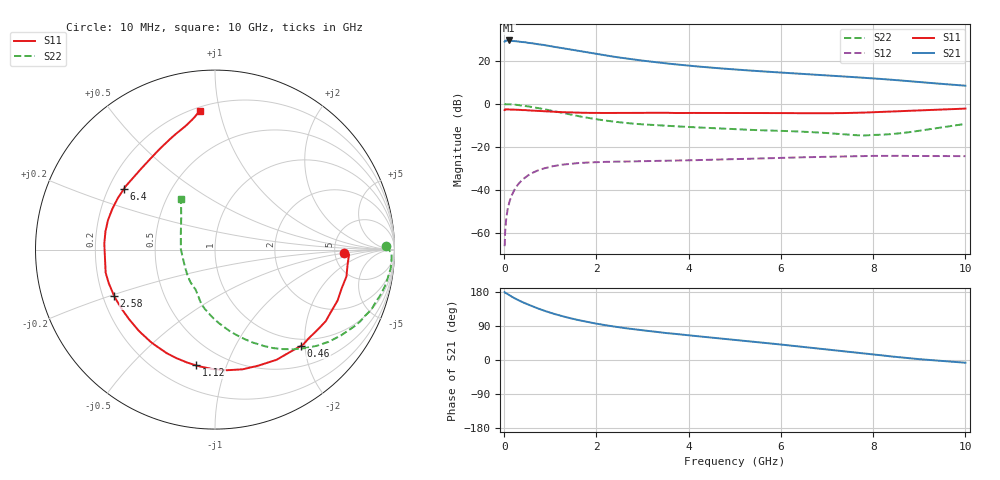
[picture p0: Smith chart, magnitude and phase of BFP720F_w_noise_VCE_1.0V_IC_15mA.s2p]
! Infineon Technologies  Discrete & RF Semiconductors
! BFP720F
! VCE =  1.0 V,  IC =  15 mA
! Common Emitter S-Parameters:  Jan 2016
# GHz  S  MA  R  50
!  f  S11  S21  S12  S22
! GHz  MAG  ANG  MAG  ANG  MAG  ANG  MAG  ANG
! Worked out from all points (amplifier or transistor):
!   233 points, 10 MHz to 10 GHz, reference 50 ohm
!   highest |S21| = 29.4 dB at 100 MHz (marker M1)
!   |S21| within 3 dB of that: start of sweep to 1.096 GHz
!   unconditionally stable (mu >= 1): start of sweep to 15.63 MHz; 6.02 GHz to end of sweep
!   at 200 MHz: K = 0.08, MSG = 35.0 dB, |S12| = -40.7 dB
!   at 1.74 GHz: K = 0.40, MSG = 25.7 dB, |S12| = -27.3 dB
!   at 10 GHz: K = 1.32, MAG = 12.9 dB, |S12| = -24.3 dB
!   lowest NFmin = 0.69 dB at 450 MHz
!   S11 on the Smith chart (normalised r, x): 10 MHz: 6.13, -0.45; 460 MHz: 0.87, -1.92; 1.12 GHz: 0.35, -0.79; 2.58 GHz: 0.25, -0.21; 6.4 GHz: 0.26, +0.29; 10 GHz: 0.22, +0.87
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0.01  0.7209 -1.4  27.88 179.1  0.0005 -0.2  0.9555 1.3
0.02  0.7476 -2.1  29.2 177.6  0.001 86.3  0.9836 -1.4
0.05  0.7433 -6.0  29.39 176.1  0.0024 89.8  0.9851 -2.8
0.1  0.7476 -11.5  29.68 172.1  0.0047 84.1  0.9846 -6.0
0.2  0.7395 -22.6  28.84 164.7  0.0092 79.4  0.9681 -12.2
0.28  0.7336 -30.8  28.36 159.6  0.0126 75.3  0.9481 -16.9
0.46  0.7191 -48.1  26.95 149.4  0.0198 67.1  0.8991 -26.8
0.6  0.7032 -60.8  25.71 142.4  0.0247 61.2  0.8491 -34.3
0.8  0.6846 -77.0  23.86 133.0  0.0304 53.6  0.7794 -43.5
0.9  0.6754 -84.3  22.97 128.8  0.0327 50.2  0.7417 -47.8
1.12  0.6536 -99.3  20.82 120.5  0.0369 43.6  0.6636 -56.5
1.38  0.6372 -113.9  18.75 111.9  0.0403 37.1  0.5815 -65.3
1.68  0.6229 -128.5  16.5 103.5  0.0429 31.5  0.5026 -74.4
2.14  0.6156 -144.5  13.68 93.0  0.045 25.5  0.4188 -85.6
2.58  0.6182 -155.4  11.6 84.8  0.046 21.6  0.3669 -93.9
3.4  0.6218 -167.0  8.994 72.8  0.0477 18.1  0.3163 -103.2
4  0.6177 176.9  7.71 65.0  0.0491 16.4  0.2911 -107.2
5.1  0.6172 163.4  6.187 51.8  0.0526 14.1  0.2571 -113.6
6.4  0.6098 146.1  5.031 35.7  0.0574 10.3  0.2287 -125.9
6.8  0.6072 139.7  4.73 30.5  0.0588 8.7  0.2167 -132.4
8.4  0.6662 111.8  3.636 9.3  0.0623 1.2  0.1995 163.3
10  0.7777 96.3  2.647 -7.2  0.0613 -3.4  0.3427 123.9
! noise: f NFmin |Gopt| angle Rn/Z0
0.45  0.69  0.24  1  0.47
0.9  0.71  0.18  6  0.15
1.8  0.75  0.16  8  0.15
2.4  0.77  0.14  12  0.13
5.5  0.93  0.11  16  0.08
10  1.1  0.32  -85  0.21
